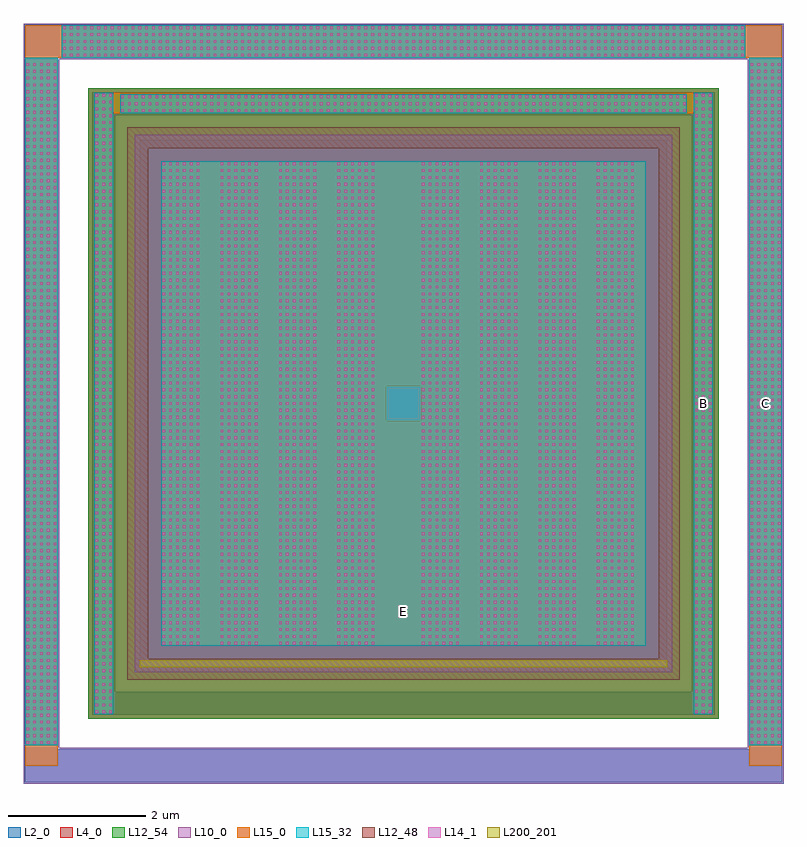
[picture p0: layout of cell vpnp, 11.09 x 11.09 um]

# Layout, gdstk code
import gdstk
lib = gdstk.Library(unit=1e-6, precision=1e-09)
def R(c, l, rs):  # rectangles x0, y0, x1, y1
    for r in rs: c.add(gdstk.rectangle(r[:2], r[2:], *l))
def A(c, l, x, y, w, h, nx, ny, dx, dy):  # array of equal rectangles
    R(c, l, [(x+i*dx, y+j*dy, x+i*dx+w, y+j*dy+h) for i in range(nx) for j in range(ny)])
L2_0 = (2, 0)
L4_0 = (4, 0)
L10_0 = (10, 0)
L12_48 = (12, 48)
L12_54 = (12, 54)
L14_1 = (14, 1)
L15_0 = (15, 0)
L15_32 = (15, 32)
L200_201 = (200, 201)

vpnp = lib.new_cell('vpnp')
R(vpnp, L2_0, [(-12.029,-4.059,-0.977,-3.579), (-12.029,-3.579,-11.549,6.513), (-1.457,-3.579,-0.977,6.513), (-11.049,-3.079,-1.957,-2.739), (-11.049,-2.739,-10.709,5.673), (-2.297,-2.739,-1.957,5.673), (-10.353,-2.383,-2.653,5.317), (-11.049,5.673,-1.957,6.013), (-12.029,6.513,-0.977,6.993)])
R(vpnp, L4_0, [(-11.105,-3.135,-1.901,6.069)])
R(vpnp, L10_0, [(-12.05,-4.08,-0.956,-3.558), (-12.05,-3.558,-11.528,6.492), (-1.478,-3.558,-0.956,6.492), (-10.423,-2.453,-2.583,5.387), (-12.05,6.492,-0.956,7.014)])
R(vpnp, L12_48, [(-10.534,-2.564,-2.472,-2.258), (-10.534,-2.258,-10.228,5.192), (-2.778,-2.258,-2.472,5.192), (-10.534,5.192,-2.472,5.498)])
R(vpnp, L12_54, [(-11.105,-3.135,-1.901,6.069)])
A(vpnp, L14_1, -12.009, -3.503, 0.04, 0.04, 5, 100, 0.1, 0.1)
A(vpnp, L14_1, -1.437, -3.503, 0.04, 0.04, 5, 100, 0.1, 0.1)
A(vpnp, L14_1, -10.999, -3.053, 0.04, 0.04, 3, 91, 0.1, 0.1)
A(vpnp, L14_1, -2.247, -3.053, 0.04, 0.04, 3, 91, 0.1, 0.1)
A(vpnp, L14_1, -10.023, -2.053, 0.04, 0.04, 6, 71, 0.1, 0.1)
A(vpnp, L14_1, -9.171, -2.053, 0.04, 0.04, 6, 71, 0.1, 0.1)
A(vpnp, L14_1, -8.319, -2.053, 0.04, 0.04, 6, 71, 0.1, 0.1)
A(vpnp, L14_1, -7.467, -2.053, 0.04, 0.04, 6, 71, 0.1, 0.1)
A(vpnp, L14_1, -6.235, -2.053, 0.04, 0.04, 6, 71, 0.1, 0.1)
A(vpnp, L14_1, -5.383, -2.053, 0.04, 0.04, 6, 71, 0.1, 0.1)
A(vpnp, L14_1, -4.531, -2.053, 0.04, 0.04, 6, 71, 0.1, 0.1)
A(vpnp, L14_1, -3.679, -2.053, 0.04, 0.04, 6, 71, 0.1, 0.1)
A(vpnp, L14_1, -10.623, 5.723, 0.04, 0.04, 83, 3, 0.1, 0.1)
A(vpnp, L14_1, -11.473, 6.533, 0.04, 0.04, 100, 5, 0.1, 0.1)
R(vpnp, L15_0, [(-12.027,-3.819,-11.551,6.991), (-1.455,-3.819,-0.979,6.991), (-11.017,-3.071,-10.741,6.005), (-2.265,-3.071,-1.989,6.005), (-10.041,-2.071,-2.965,1.217), (-10.041,1.217,-6.753,1.717), (-6.253,1.217,-2.965,1.717), (-10.041,1.717,-2.965,5.005), (-10.741,5.705,-2.265,6.005), (-11.551,6.515,-1.455,6.991)])
R(vpnp, L15_32, [(-12.027,-3.521,-11.551,6.515), (-1.455,-3.521,-0.979,6.515), (-11.017,-3.071,-10.741,6.005), (-2.265,-3.071,-1.989,6.005), (-10.041,-2.071,-2.965,5.005), (-10.641,5.705,-2.365,5.981), (-11.491,6.515,-1.515,6.991)])
R(vpnp, L200_201, [(-10.353,-2.383,-2.653,-2.283)])
vpnp.add(gdstk.Label('E', (-6.503,-1.571), layer=15, texttype=20))
vpnp.add(gdstk.Label('B', (-2.127,1.467), layer=15, texttype=20))
vpnp.add(gdstk.Label('C', (-1.217,1.467), layer=15, texttype=20))

lib.write_gds('vpnp.gds')
